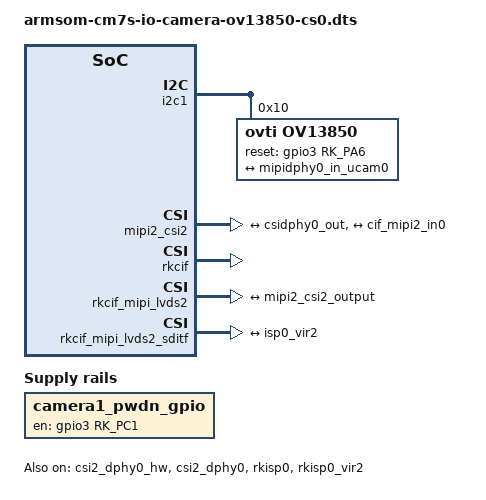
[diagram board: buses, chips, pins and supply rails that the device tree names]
// SPDX-License-Identifier: GPL-2.0
/dts-v1/;
/plugin/;

#include <dt-bindings/clock/rk3588-cru.h>
#include <dt-bindings/power/rk3588-power.h>
#include <dt-bindings/gpio/gpio.h>
#include <dt-bindings/pinctrl/rockchip.h>

/ {
	fragment@0 {
		target-path = "/";
		__overlay__ {
			camera1_pwdn_gpio: camera-pwdn-gpio {
				status = "okay";
				compatible = "regulator-fixed";
				regulator-name = "camera1_pwdn_gpio";
				regulator-always-on;
				regulator-boot-on;
				enable-active-high;
				gpio = <&gpio3 RK_PC1 GPIO_ACTIVE_HIGH>;
				pinctrl-names = "default";
				pinctrl-0 = <&cam1_pwdn_gpio>;
			};
		};
	};

	fragment@1 {
		target = <&i2c1>;

		__overlay__ {
			status = "okay";
			#address-cells = <1>;
			#size-cells = <0>;
			pinctrl-names = "default";
			pinctrl-0 = <&i2c1m2_xfer>;

			ov13850: ov13850@10 {
				status = "okay";
				compatible = "ovti,ov13850";
				reg = <0x10>;
				clocks = <&cru CLK_MIPI_CAMARAOUT_M1>;
				clock-names = "xvclk";
				assigned-clocks = <&cru CLK_MIPI_CAMARAOUT_M1>;
				assigned-clock-rates = <24000000>;
				pinctrl-names = "rockchip,camera_default";
				pinctrl-0 = <&mipim0_camera1_clk>;
				power-domains = <&power RK3588_PD_VI>;
				rockchip,grf = <&sys_grf>;
				reset-gpios = <&gpio3 RK_PA6 GPIO_ACTIVE_HIGH>;
				rockchip,camera-module-index = <0>;
				rockchip,camera-module-facing = "back";
				rockchip,camera-module-name = "ZC-OV13850R2A-V1";
				rockchip,camera-module-lens-name = "Largan-50064B31";
				port {
					ov13850_out0: endpoint {
						remote-endpoint = <&mipidphy0_in_ucam0>;
						data-lanes = <1 2 3 4>;
					};
				};
			};
		};
	};

	fragment@2 {
		target = <&csi2_dphy0_hw>;

		__overlay__ {
			status = "okay";
		};
	};

	fragment@3 {
		target = <&csi2_dphy0>;

		__overlay__ {
			status = "okay";

			ports {
				#address-cells = <1>;
				#size-cells = <0>;

				port@0 {
					reg = <0>;
					#address-cells = <1>;
					#size-cells = <0>;

					mipidphy0_in_ucam0: endpoint@1 {
						reg = <1>;
						remote-endpoint = <&ov13850_out0>;
						data-lanes = <1 2 3 4>;
					};

				};

				port@1 {
					reg = <1>;
					#address-cells = <1>;
					#size-cells = <0>;

					csidphy0_out: endpoint@0 {
						reg = <0>;
						remote-endpoint = <&mipi2_csi2_input>;
					};
				};
			};
		};
	};

	fragment@4 {
		target = <&mipi2_csi2>;

		__overlay__ {
			status = "okay";

			ports {
				#address-cells = <1>;
				#size-cells = <0>;

				port@0 {
					reg = <0>;
					#address-cells = <1>;
					#size-cells = <0>;

					mipi2_csi2_input: endpoint@1 {
						reg = <1>;
						remote-endpoint = <&csidphy0_out>;
					};
				};

				port@1 {
					reg = <1>;
					#address-cells = <1>;
					#size-cells = <0>;

					mipi2_csi2_output: endpoint@0 {
						reg = <0>;
						remote-endpoint = <&cif_mipi2_in0>;
					};
				};
			};
		};
	};

	fragment@5 {
		target = <&rkcif>;

		__overlay__ {
			status = "okay";
		};
	};

	fragment@6 {
		target = <&rkcif_mipi_lvds2>;

		__overlay__ {
			status = "okay";

			port {
				cif_mipi2_in0: endpoint {
					remote-endpoint = <&mipi2_csi2_output>;
				};
			};
		};
	};

	fragment@7 {
		target = <&rkcif_mipi_lvds2_sditf>;

		__overlay__ {
			status = "okay";

			port {
				mipi_lvds2_sditf: endpoint {
					remote-endpoint = <&isp0_vir2>;
				};
			};
		};
	};

	fragment@8 {
		target = <&rkcif_mmu>;

		__overlay__ {
			status = "okay";
		};
	};

	fragment@9 {
		target = <&isp0_mmu>;

		__overlay__ {
			status = "okay";
		};
	};

	fragment@10 {
		target = <&rkisp0>;

		__overlay__ {
			status = "okay";
		};
	};

	fragment@11 {
		target = <&rkisp0_vir2>;

		__overlay__ {
			status = "okay";

			port {
				#address-cells = <1>;
				#size-cells = <0>;

				isp0_vir2: endpoint@0 {
					reg = <0>;
					remote-endpoint = <&mipi_lvds2_sditf>;
				};
			};
		};
	};
	fragment@12 {
		target = <&pinctrl>;
		__overlay__ {
			camera {
				cam1_pwdn_gpio: cam-pwdn-gpio {
					rockchip,pins = <3 RK_PC1 RK_FUNC_GPIO &pcfg_pull_up>;
				};
			};
		};
	};
};
